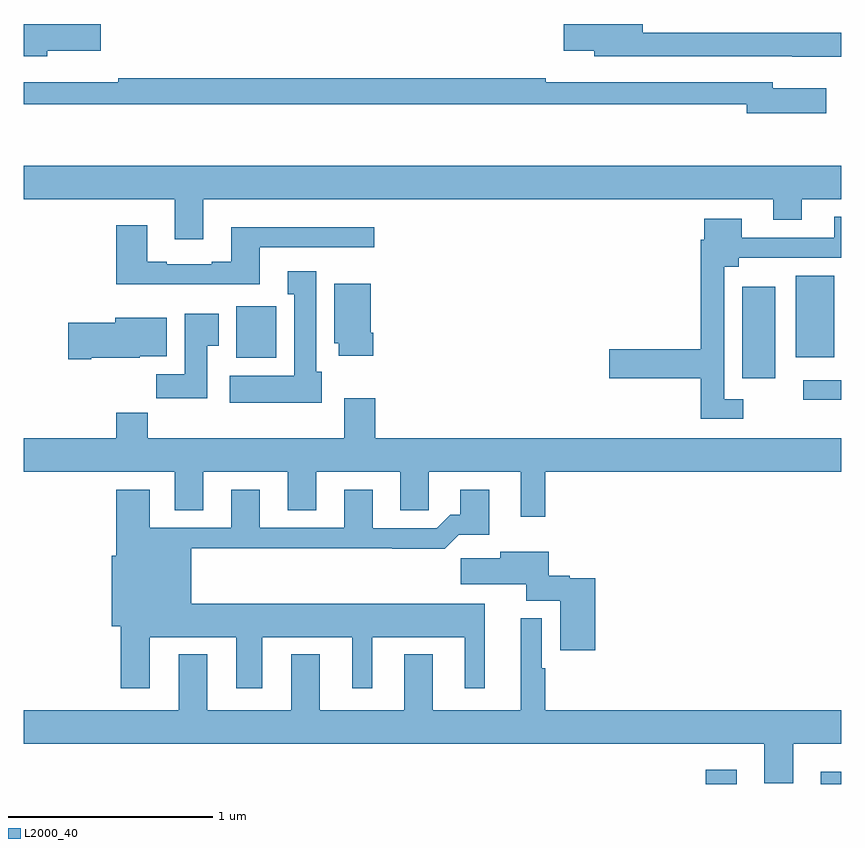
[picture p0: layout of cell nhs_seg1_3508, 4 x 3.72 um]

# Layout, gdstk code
import gdstk
lib = gdstk.Library(unit=1e-6, precision=1e-09)
def R(c, l, rs):  # rectangles x0, y0, x1, y1
    for r in rs: c.add(gdstk.rectangle(r[:2], r[2:], *l))
def P(c, l, *ps):  # polygons
    for p in ps: c.add(gdstk.Polygon(p, *l))
L2000_40 = (2000, 40)

nhs_seg1_3508 = lib.new_cell('nhs_seg1_3508')
R(nhs_seg1_3508, L2000_40, [(304.337,554.199,304.489,554.269), (304.901,554.199,305,554.26), (304.815,556.08,305,556.176), (304.517,556.185,304.678,556.633), (302.039,556.286,302.235,556.537), (304.778,556.289,304.966,556.687)])
P(nhs_seg1_3508, L2000_40, [(305,557.876),(304.03,557.876),(304.03,557.919),(303.642,557.919),(303.642,557.789),(303.791,557.789),(303.791,557.76),(304.762,557.76),(304.762,557.759),(305,557.759)],
  [(301.114,557.789),(301.375,557.789),(301.375,557.919),(301,557.919),(301,557.76),(301.114,557.76)],
  [(304.927,557.605),(304.666,557.605),(304.666,557.634),(303.554,557.634),(303.554,557.654),(301.462,557.654),(301.462,557.635),(301.21,557.635),(301.21,557.634),(301,557.634),(301,557.526),(304.538,557.526),(304.538,557.483),(304.927,557.483)],
  [(301.879,557.06),(304.667,557.06),(304.667,556.961),(304.807,556.961),(304.807,557.06),(305,557.06),(305,557.224),(301,557.224),(301,557.06),(301.739,557.06),(301.739,556.866),(301.879,556.866)],
  [(304.522,556.083),(304.428,556.083),(304.428,556.73),(304.498,556.73),(304.498,556.776),(305,556.776),(305,556.975),(304.967,556.975),(304.967,556.872),(304.513,556.872),(304.513,556.966),(304.331,556.966),(304.331,556.862),(304.312,556.862),(304.312,556.328),(303.864,556.328),(303.864,556.186),(304.312,556.186),(304.312,555.987),(304.522,555.987)],
  [(302.155,556.827),(302.716,556.827),(302.716,556.924),(302.015,556.924),(302.015,556.756),(301.919,556.756),(301.919,556.743),(301.699,556.743),(301.699,556.756),(301.603,556.756),(301.603,556.933),(301.451,556.933),(301.451,556.646),(302.155,556.646)],
  [(302.458,556.218),(302.431,556.218),(302.431,556.708),(302.291,556.708),(302.291,556.595),(302.324,556.595),(302.324,556.198),(302.007,556.198),(302.007,556.064),(302.458,556.064)],
  [(302.711,556.408),(302.698,556.408),(302.698,556.648),(302.519,556.648),(302.519,556.356),(302.54,556.356),(302.54,556.296),(302.711,556.296)],
  [(301.897,556.345),(301.954,556.345),(301.954,556.501),(301.787,556.501),(301.787,556.204),(301.648,556.204),(301.648,556.086),(301.897,556.086)],
  [(301.33,556.286),(301.566,556.286),(301.566,556.292),(301.699,556.292),(301.699,556.48),(301.448,556.48),(301.448,556.457),(301.218,556.457),(301.218,556.279),(301.33,556.279)],
  [(303.553,555.728),(305,555.728),(305,555.892),(302.72,555.892),(302.72,556.087),(302.567,556.087),(302.567,555.892),(301.607,555.892),(301.607,556.016),(301.451,556.016),(301.451,555.892),(301,555.892),(301,555.728),(301.739,555.728),(301.739,555.538),(301.879,555.538),(301.879,555.728),(302.291,555.728),(302.291,555.538),(302.431,555.538),(302.431,555.728),(302.843,555.728),(302.843,555.538),(302.982,555.538),(302.982,555.728),(303.431,555.728),(303.431,555.507),(303.553,555.507)],
  [(301.615,554.918),(302.039,554.918),(302.039,554.667),(302.167,554.667),(302.167,554.918),(302.606,554.918),(302.606,554.667),(302.704,554.667),(302.704,554.918),(303.158,554.918),(303.158,554.667),(303.256,554.667),(303.256,555.082),(301.819,555.082),(301.819,555.352),(302.803,555.352),(302.803,555.35),(303.059,555.35),(303.128,555.419),(303.277,555.419),(303.277,555.64),(303.137,555.64),(303.137,555.517),(303.088,555.517),(303.021,555.45),(302.707,555.45),(302.707,555.64),(302.567,555.64),(302.567,555.453),(302.155,555.453),(302.155,555.64),(302.015,555.64),(302.015,555.453),(301.615,555.453),(301.615,555.64),(301.451,555.64),(301.451,555.316),(301.43,555.316),(301.43,554.972),(301.475,554.972),(301.475,554.667),(301.615,554.667)],
  [(303.797,555.205),(303.672,555.205),(303.672,555.218),(303.568,555.218),(303.568,555.337),(303.332,555.337),(303.332,555.305),(303.138,555.305),(303.138,555.176),(303.458,555.176),(303.458,555.095),(303.626,555.095),(303.626,554.853),(303.797,554.853)],
  [(304.765,554.396),(305,554.396),(305,554.56),(303.553,554.56),(303.553,554.765),(303.535,554.765),(303.535,555.01),(303.431,555.01),(303.431,554.56),(303.001,554.56),(303.001,554.833),(302.861,554.833),(302.861,554.56),(302.449,554.56),(302.449,554.833),(302.309,554.833),(302.309,554.56),(301.897,554.56),(301.897,554.833),(301.757,554.833),(301.757,554.56),(301,554.56),(301,554.396),(304.625,554.396),(304.625,554.202),(304.765,554.202)])

lib.write_gds('nhs_seg1_3508.gds')
